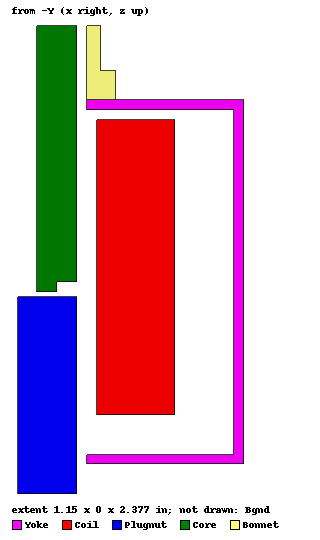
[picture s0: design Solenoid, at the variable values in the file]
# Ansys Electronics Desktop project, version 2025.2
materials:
  vacuum: permittivity=1
  copper: permeability=0.999991 conductivity=58000000
  ColdRolledSteel: permeability{HUnit=A_per_meter BUnit=tesla curve (0, 0) (1080, 0.858) (1480, 1.06) (2090, 1.26) (3120, 1.44) (5160, 1.61) (9930, 1.77) (15500, 1.86) (25000, 1.88) (35000, 1.9)}
  Neo35: permeability=1.05 magnetic_coercivity{Magnitude=-947350.85A_per_meter DirComp1=1 DirComp2=0 DirComp3=0}
  SS430: permeability{HUnit=A_per_meter BUnit=tesla curve (0, 0) (143, 0.125) (180, 0.206) (219, 0.394) (259, 0.589) (298, 0.743) (338, 0.853) (378, 0.932) (438, 1.01) (517, 1.08) (597, 1.11) (716, 1.16) (955, 1.2) (1590, 1.27) (3980, 1.37) (6370, 1.43) (11900, 1.49) (23900, 1.55) (39800, 1.59) (76900, 1.645)}

design Solenoid (Maxwell 2D, Magnetostatic, about Z geometry, model units in)
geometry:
  Plugnut [SS430] = rectangle(corner=(0in, 0in, -0.2in), z_size=-1in, x_size=0.3in)
  coordinate_system RelativeCS1 = origin=(0in, 0in, 0in) x=(0in, 0in, 4in) y=(0in, 1in, 0in)
  Core [Neo35, oriented by RelativeCS1] = polyline(y=0in, xz in in: (0.1, 1.175) (0.1, -0.175) (0.2, -0.175) (0.2, -0.125) (0.3, -0.125) (0.3, 1.175) (0.1, 1.175), closed, covered)
  Coil [copper] = rectangle(corner=(0.4in, 0in, 0.7in), z_size=-1.5in, x_size=0.4in)
  Yoke [ColdRolledSteel] = polyline(y=0in, xz in in: (0.35, -1.05) (1.15, -1.05) (1.15, 0.8) (0.35, 0.8) (0.35, 0.75) (1.1, 0.75) (1.1, -1) (0.35, -1) (0.35, -1.05), closed, covered)
  Bonnet [ColdRolledSteel] = polyline(y=0in, xz in in: (0.35, 0.8) (0.5, 0.8) (0.5, 0.95) (0.425, 0.95) (0.425, 1.177) (0.35, 1.177) (0.35, 0.8), closed, covered)
  Bgnd [vacuum] = rectangle(corner=(0in, 0in, -2in), z_size=4in, x_size=2in)
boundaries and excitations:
  Balloon1: Balloon Edges=Bgnd.edge(at (1, 0, 2), at (2, 0, 0), at (1, 0, -2))
  Current1: Current Objects=Coil Current=10000A IsPositive=false
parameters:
  Force1: Force Reference_CS=Global Objects=Core
  Matrix1: Matrix Current1: NumberOfTurns=1
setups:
  Setup1: Magnetostatic MaximumPasses=10 MinimumPasses=2 MinimumConvergedPasses=1 PercentRefinement=30 PercentError=1 NonLinearResidual=0.0001
